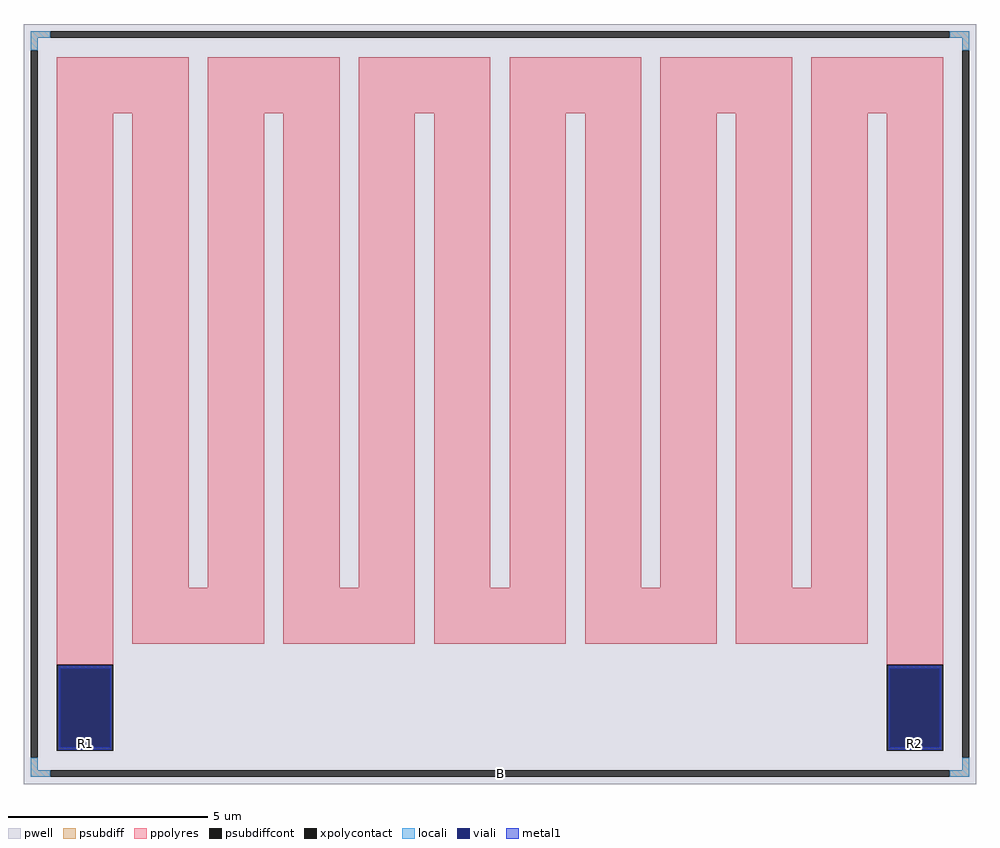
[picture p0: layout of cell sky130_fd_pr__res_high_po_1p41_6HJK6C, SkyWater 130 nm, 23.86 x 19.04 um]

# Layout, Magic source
magic
tech sky130A
magscale 1 2
<< pwell >>
rect -2386 -1904 2386 1904
<< psubdiff >>
rect -2350 1834 -2254 1868
rect 2254 1834 2350 1868
rect -2350 1772 -2316 1834
rect 2316 1772 2350 1834
rect -2350 -1834 -2316 -1772
rect 2316 -1834 2350 -1772
rect -2350 -1868 -2254 -1834
rect 2254 -1868 2350 -1834
<< psubdiffcont >>
rect -2254 1834 2254 1868
rect -2350 -1772 -2316 1772
rect 2316 -1772 2350 1772
rect -2254 -1868 2254 -1834
<< xpolycontact >>
rect -2220 -1738 -1938 -1306
rect 1938 -1738 2220 -1306
<< ppolyres >>
rect -2220 1456 -1560 1738
rect -2220 -1306 -1938 1456
rect -1842 -920 -1560 1456
rect -1464 1456 -804 1738
rect -1464 -920 -1182 1456
rect -1842 -1202 -1182 -920
rect -1086 -920 -804 1456
rect -708 1456 -48 1738
rect -708 -920 -426 1456
rect -1086 -1202 -426 -920
rect -330 -920 -48 1456
rect 48 1456 708 1738
rect 48 -920 330 1456
rect -330 -1202 330 -920
rect 426 -920 708 1456
rect 804 1456 1464 1738
rect 804 -920 1086 1456
rect 426 -1202 1086 -920
rect 1182 -920 1464 1456
rect 1560 1456 2220 1738
rect 1560 -920 1842 1456
rect 1182 -1202 1842 -920
rect 1938 -1306 2220 1456
<< locali >>
rect -2350 1834 -2254 1868
rect 2254 1834 2350 1868
rect -2350 1772 -2316 1834
rect 2316 1772 2350 1834
rect -2350 -1834 -2316 -1772
rect 2316 -1834 2350 -1772
rect -2350 -1868 -2254 -1834
rect 2254 -1868 2350 -1834
<< viali >>
rect -2204 -1720 -1954 -1323
rect 1954 -1720 2204 -1323
<< metal1 >>
rect -2210 -1323 -1948 -1311
rect -2210 -1720 -2204 -1323
rect -1954 -1720 -1948 -1323
rect -2210 -1732 -1948 -1720
rect 1948 -1323 2210 -1311
rect 1948 -1720 1954 -1323
rect 2204 -1720 2210 -1323
rect 1948 -1732 2210 -1720
<< labels >>
rlabel psubdiffcont 0 -1851 0 -1851 0 B
port 1 nsew
rlabel xpolycontact -2079 -1703 -2079 -1703 0 R1
port 2 nsew
rlabel xpolycontact 2079 -1703 2079 -1703 0 R2
port 3 nsew
<< properties >>
string FIXED_BBOX -2333 -1851 2333 1851
string gencell sky130_fd_pr__res_high_po_1p41
string library sky130
string parameters w 1.41 l 14.7 m 1 nx 12 wmin 1.410 lmin 0.50 class resistor rho 319.8 val 43.803k dummy 0 dw 0.0 term 194.82 sterm 0.0 caplen 0 guard 1 glc 1 grc 1 gtc 1 gbc 1 compatible {sky130_fd_pr__res_high_po_0p35  sky130_fd_pr__res_high_po_0p69 sky130_fd_pr__res_high_po_1p41  sky130_fd_pr__res_high_po_2p85 sky130_fd_pr__res_high_po_5p73} snake 1 full_metal 1 wmax 1.410 n_guard 0 hv_guard 0 vias 1 viagb 0 viagt 0 viagl 0 viagr 0 doports 1
<< end >>
